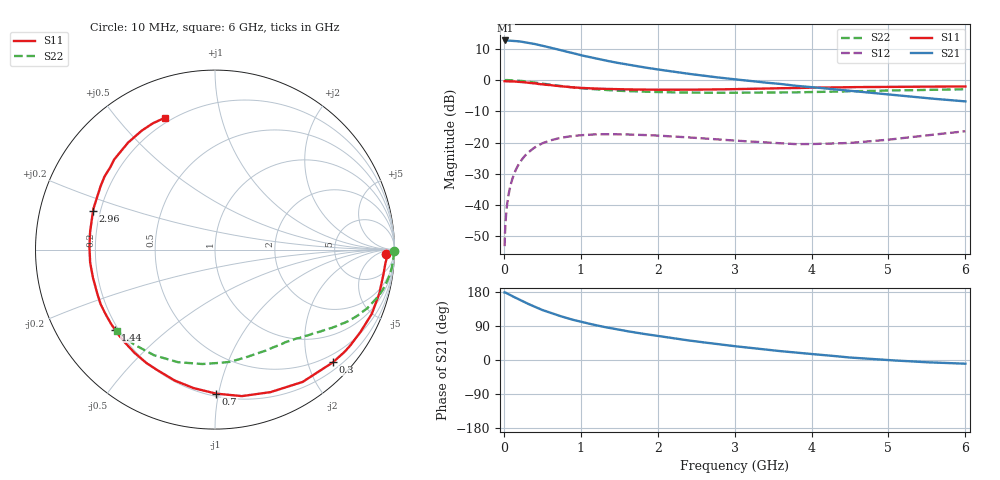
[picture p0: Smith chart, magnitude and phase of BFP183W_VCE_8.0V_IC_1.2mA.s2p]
! Infineon Technologies  Discrete & RF Semiconductors
! BFP183W
! VCE = 8.0 V,  IC =  1.2 mA
! Common Emitter S-Parameters:  Jan 2016
# GHz  S  MA  R  50
!  f  S11  S21  S12  S22
! GHz  MAG  ANG  MAG  ANG  MAG  ANG  MAG  ANG
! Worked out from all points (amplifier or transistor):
!   210 points, 10 MHz to 6 GHz, reference 50 ohm
!   highest |S21| = 12.6 dB at 20 MHz (marker M1)
!   |S21| within 3 dB of that: start of sweep to 724 MHz
!   unconditionally stable (mu >= 1): 2.675 GHz to end of sweep
!   at 185 MHz: K = 0.08, MSG = 19.8 dB, |S12| = -27.3 dB
!   at 1.52 GHz: K = 0.55, MSG = 11.4 dB, |S12| = -17.4 dB
!   at 6 GHz: K = 1.10, MAG = 2.8 dB, |S12| = -16.4 dB
!   S11 on the Smith chart (normalised r, x): 10 MHz: 32, -19; 300 MHz: 0.34, -2.45; 700 MHz: 0.22, -0.98; 1.44 GHz: 0.19, -0.34; 2.96 GHz: 0.17, +0.15; 6 GHz: 0.18, +0.68
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0.01  0.9551 -1.6  4.235 178.2  0.0022 89.8  0.9996 -0.6
0.02  0.9572 -3.1  4.281 178.0  0.0048 84.6  0.9938 -1.1
0.035  0.9516 -5.2  4.266 176.5  0.0084 87.6  0.9959 -2.0
0.05  0.9495 -7.5  4.272 174.9  0.012 85.7  0.9945 -2.9
0.1  0.9478 -14.9  4.225 169.7  0.0237 81.2  0.9906 -5.7
0.2  0.9312 -29.6  4.136 159.2  0.0463 72.1  0.9712 -11.3
0.3  0.9091 -43.7  3.956 149.5  0.0665 63.9  0.9429 -16.4
0.4  0.8842 -56.5  3.763 140.6  0.0831 56.3  0.9103 -20.9
0.5  0.8522 -68.7  3.529 132.0  0.0971 49.8  0.8758 -24.8
0.7  0.8026 -89.5  3.087 117.9  0.1162 38.6  0.8119 -31.0
0.9  0.763 -107.2  2.686 106.0  0.1273 29.9  0.759 -36.1
1.02  0.7442 -115.8  2.459 100.1  0.1311 25.6  0.7351 -38.8
1.2  0.7291 -128.0  2.199 91.6  0.1351 19.8  0.7077 -42.3
1.44  0.7139 -141.4  1.916 82.2  0.1355 14.2  0.6787 -46.6
1.66  0.7062 -152.5  1.722 74.2  0.1337 10.2  0.6583 -50.3
2.02  0.6975 -167.5  1.462 62.7  0.1286 5.7  0.6401 -56.3
2.4  0.6996 178.9  1.255 51.7  0.1207 2.5  0.6297 -63.4
2.96  0.7125 162.3  1.036 37.5  0.1082 2.5  0.6243 -73.7
3.1  0.7161 158.7  0.994 34.4  0.1055 3.3  0.625 -76.5
4.1  0.7549 136.4  0.748 14.0  0.0951 17.1  0.6428 -98.6
5.1  0.7789 120.6  0.569 -1.5  0.1146 32.7  0.6806 -122.1
6  0.7859 110.7  0.454 -9.8  0.1515 37.1  0.7109 -140.1
